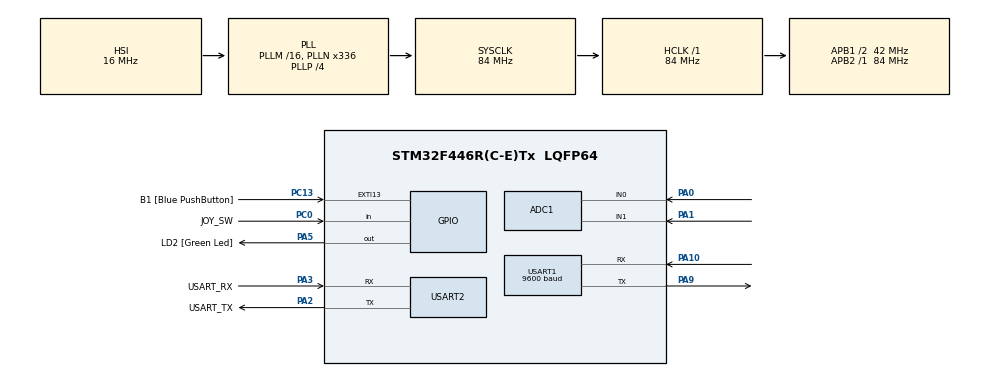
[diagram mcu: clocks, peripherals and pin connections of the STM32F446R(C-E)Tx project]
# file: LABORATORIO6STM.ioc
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ADC1.Channel-0\#ChannelRegularConversion=ADC_CHANNEL_0
ADC1.Channel-1\#ChannelRegularConversion=ADC_CHANNEL_1
ADC1.ContinuousConvMode=ENABLE
ADC1.DMAContinuousRequests=ENABLE
ADC1.EOCSelection=ADC_EOC_SEQ_CONV
ADC1.NbrOfConversion=2
ADC1.NbrOfConversionFlag=1
ADC1.Rank-0\#ChannelRegularConversion=1
ADC1.Rank-1\#ChannelRegularConversion=2
ADC1.SamplingTime-0\#ChannelRegularConversion=ADC_SAMPLETIME_3CYCLES
ADC1.SamplingTime-1\#ChannelRegularConversion=ADC_SAMPLETIME_3CYCLES
ADC1.ScanConvMode=ENABLE
ADC1.master=1
Dma.ADC1.0.Direction=DMA_PERIPH_TO_MEMORY
Dma.ADC1.0.FIFOMode=DMA_FIFOMODE_DISABLE
Dma.ADC1.0.Instance=DMA2_Stream0
Dma.ADC1.0.MemDataAlignment=DMA_MDATAALIGN_HALFWORD
Dma.ADC1.0.MemInc=DMA_MINC_ENABLE
Dma.ADC1.0.Mode=DMA_CIRCULAR
Dma.ADC1.0.PeriphDataAlignment=DMA_PDATAALIGN_HALFWORD
Dma.ADC1.0.PeriphInc=DMA_PINC_DISABLE
Dma.ADC1.0.Priority=DMA_PRIORITY_MEDIUM
Dma.Request0=ADC1
Mcu.Family=STM32F4
Mcu.Name=STM32F446R(C-E)Tx
Mcu.Package=LQFP64
NVIC.DMA2_Stream0_IRQn=true\:0\:0\:false\:false\:true\:false\:true\:true
NVIC.PriorityGroup=NVIC_PRIORITYGROUP_0
PA0-WKUP.Signal=ADCx_IN0
PA1.Signal=ADCx_IN1
PA10.Mode=Asynchronous
PA10.Signal=USART1_RX
PA13.GPIO_Label=TMS
PA13.Mode=Serial_Wire
PA13.Signal=SYS_JTMS-SWDIO
PA14.GPIO_Label=TCK
PA14.Mode=Serial_Wire
PA14.Signal=SYS_JTCK-SWCLK
PA2.GPIO_Label=USART_TX
PA2.Mode=Asynchronous
PA2.Signal=USART2_TX
PA3.GPIO_Label=USART_RX
PA3.Mode=Asynchronous
PA3.Signal=USART2_RX
PA5.GPIO_Label=LD2 [Green Led]
PA5.Signal=GPIO_Output
PA9.Mode=Asynchronous
PA9.Signal=USART1_TX
PB3.GPIO_Label=SWO
PB3.Signal=SYS_JTDO-SWO
PC0.GPIO_Label=JOY_SW
PC0.GPIO_PuPd=GPIO_PULLUP
PC0.Signal=GPIO_Input
PC13.GPIO_Label=B1 [Blue PushButton]
PC13.GPIO_ModeDefaultEXTI=GPIO_MODE_IT_FALLING
PC13.Signal=GPXTI13
PC14-OSC32_IN.Signal=RCC_OSC32_IN
PC15-OSC32_OUT.Signal=RCC_OSC32_OUT
PH0-OSC_IN.Signal=RCC_OSC_IN
PH1-OSC_OUT.Signal=RCC_OSC_OUT
ProjectManager.HeapSize=0x200
ProjectManager.StackSize=0x400
ProjectManager.TargetToolchain=STM32CubeIDE
RCC.AHBFreq_Value=84000000
RCC.APB1CLKDivider=RCC_HCLK_DIV2
RCC.APB1Freq_Value=42000000
RCC.APB1TimFreq_Value=84000000
RCC.APB2Freq_Value=84000000
RCC.APB2TimFreq_Value=84000000
RCC.CortexFreq_Value=84000000
RCC.FLatency-AdvancedSettings=FLASH_LATENCY_2
RCC.HCLKFreq_Value=84000000
RCC.HSE_VALUE=8000000
RCC.HSI_VALUE=16000000
RCC.LSE_VALUE=32768
RCC.PLLN=336
RCC.PLLP=RCC_PLLP_DIV4
RCC.SYSCLKFreq_VALUE=84000000
RCC.SYSCLKSource=RCC_SYSCLKSOURCE_PLLCLK
RCC.USBFreq_Value=168000000
RCC.VCOOutputFreq_Value=336000000
SH.ADCx_IN0.0=ADC1_IN0,IN0
SH.ADCx_IN1.0=ADC1_IN1,IN1
USART1.BaudRate=9600
USART1.VirtualMode=VM_ASYNC
USART2.VirtualMode=VM_ASYNC
board=NUCLEO-F446RE

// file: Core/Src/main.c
/* USER CODE BEGIN Header */
/**
  ******************************************************************************
  * @file           : main.c
  * @brief          : Lectura de joystick con ADC1, DMA y USART2
  ******************************************************************************
  */
/* USER CODE END Header */
#include "main.h"

/* USER CODE BEGIN Includes */
#include <stdio.h>
/* USER CODE END Includes */

/* USER CODE BEGIN PD */
#define ADC1_LIMITE_INFERIOR 2048
#define ADC1_LIMITE_SUPERIOR 2099

#define ADC2_LIMITE_INFERIOR 1960
#define ADC2_LIMITE_SUPERIOR 2100

#define INTERVALO_JOYSTICK 200U
#define TIEMPO_AGRUPACION_MANDO2 10U
#define TAMANO_COLA 16U
/* USER CODE END PD */

ADC_HandleTypeDef hadc1;
DMA_HandleTypeDef hdma_adc1;

UART_HandleTypeDef huart1;
UART_HandleTypeDef huart2;

/* USER CODE BEGIN PV */
volatile uint16_t adcValores[2] = {0, 0};

/* USART1 recibe un byte a la vez desde el ATmega */
uint8_t datoUART1;
uint8_t esperandoNumero = 0;

/* Cola de comandos recibidos por interrupcion */
volatile uint8_t colaComandos[TAMANO_COLA];
volatile uint8_t posicionEscritura = 0;
volatile uint8_t posicionLectura = 0;
/* USER CODE END PV */

void SystemClock_Config(void);
static void MX_GPIO_Init(void);
static void MX_DMA_Init(void);
static void MX_ADC1_Init(void);
static void MX_USART1_UART_Init(void);
static void MX_USART2_UART_Init(void);
/* USER CODE BEGIN PFP */
static void guardarComando(uint8_t comando);
static uint8_t leerComando(uint8_t *comando);
static void mostrarMando1(const char *vertical,
                          const char *horizontal,
                          uint16_t adcVertical,
                          uint16_t adcHorizontal);
static void mostrarMando2(uint8_t comandos);
/* USER CODE END PFP */

/* USER CODE BEGIN 0 */
/* Guarda un comando si todavia hay espacio */
static void guardarComando(uint8_t comando)
{
  uint8_t siguiente = posicionEscritura + 1U;

  if (siguiente >= TAMANO_COLA)
  {
    siguiente = 0;
  }

  if (siguiente != posicionLectura)
  {
    colaComandos[posicionEscritura] = comando;
    posicionEscritura = siguiente;
  }
}

/* Devuelve un comando pendiente sin consultar el periferico UART */
static uint8_t leerComando(uint8_t *comando)
{
  if (posicionLectura == posicionEscritura)
  {
    return 0;
  }

  *comando = colaComandos[posicionLectura];
  posicionLectura++;

  if (posicionLectura >= TAMANO_COLA)
  {
    posicionLectura = 0;
  }

  return 1;
}

/* Muestra una o dos mediciones del joystick en la misma linea */
static void mostrarMando1(const char *vertical,
                          const char *horizontal,
                          uint16_t adcVertical,
                          uint16_t adcHorizontal)
{
  char mensaje[100];
  int longitud;

  if (vertical == NULL && horizontal == NULL)
  {
    return;
  }

  longitud = snprintf(mensaje, sizeof(mensaje), "Mando 1: ");

  if (vertical != NULL)
  {
    longitud += snprintf(&mensaje[longitud],
                         sizeof(mensaje) - (uint32_t)longitud,
                         "%s (ADC1=%u)",
                         vertical,
                         (unsigned int)adcVertical);
  }

  if (horizontal != NULL)
  {
    if (vertical != NULL)
    {
      longitud += snprintf(&mensaje[longitud],
                           sizeof(mensaje) - (uint32_t)longitud,
                           " | ");
    }

    longitud += snprintf(&mensaje[longitud],
                         sizeof(mensaje) - (uint32_t)longitud,
                         "%s (ADC2=%u)",
                         horizontal,
                         (unsigned int)adcHorizontal);
  }

  longitud += snprintf(&mensaje[longitud],
                       sizeof(mensaje) - (uint32_t)longitud,
                       "\r\n");

  HAL_UART_Transmit(&huart2,
                    (uint8_t *)mensaje,
                    (uint16_t)longitud,
                    1000);
}

/* Muestra juntos los botones presionados al mismo tiempo */
static void mostrarMando2(uint8_t comandos)
{
  const uint8_t orden[] = {4, 3, 5, 6, 2, 1};
  const char *acciones[] = {
      "Arriba", "Abajo", "Derecha", "Izquierda", "A", "B"
  };

  char mensaje[100];
  uint8_t i;
  uint8_t primeraAccion = 1;
  int longitud;

  longitud = snprintf(mensaje, sizeof(mensaje), "Mando 2: ");

  for (i = 0; i < 6; i++)
  {
    if (comandos & (1U << (orden[i] - 1U)))
    {
      if (!primeraAccion)
      {
        longitud += snprintf(&mensaje[longitud],
                             sizeof(mensaje) - (uint32_t)longitud,
                             " | ");
      }

      longitud += snprintf(&mensaje[longitud],
                           sizeof(mensaje) - (uint32_t)longitud,
                           "%s",
                           acciones[i]);

      primeraAccion = 0;
    }
  }

  longitud += snprintf(&mensaje[longitud],
                       sizeof(mensaje) - (uint32_t)longitud,
                       "\r\n");

  HAL_UART_Transmit(&huart2,
                    (uint8_t *)mensaje,
                    (uint16_t)longitud,
                    1000);
}
/* USER CODE END 0 */

int main(void)
{

  /* USER CODE BEGIN 1 */
  uint16_t adcVertical;
  uint16_t adcHorizontal;

  const char *vertical;
  const char *horizontal;

  uint8_t comando;
  uint8_t comandosMando2 = 0;
  uint8_t mando2Pendiente = 0;
  uint32_t tiempoJoystick = 0;
  uint32_t ultimoComandoMando2 = 0;
  HAL_StatusTypeDef estadoADC;
  /* USER CODE END 1 */

  /* MCU Configuration--------------------------------------------------------*/

  /* Reset of all peripherals, Initializes the Flash interface and the Systick. */
  HAL_Init();

  /* Configure the system clock */
  SystemClock_Config();

  /* Initialize all configured peripherals */
  MX_GPIO_Init();
  MX_DMA_Init();
  MX_ADC1_Init();
  MX_USART1_UART_Init();
  MX_USART2_UART_Init();
  /* USER CODE BEGIN 2 */

  /* Comprueba primero que USART2 funciona */
  const char inicio[] =
      "\r\nSistema iniciado\r\n"
      "USART2 funcionando a 115200 baudios\r\n";

  HAL_UART_Transmit(&huart2,
                    (uint8_t *)inicio,
                    sizeof(inicio) - 1,
                    1000);

  HAL_Delay(200);

  /* Inicia la lectura de los dos ADC mediante DMA */
  estadoADC = HAL_ADC_Start_DMA(&hadc1,
                               (uint32_t *)adcValores,
                               2);

  if (estadoADC != HAL_OK)
  {
    const char error[] = "ERROR: no se pudo iniciar ADC DMA\r\n";

    HAL_UART_Transmit(&huart2,
                      (uint8_t *)error,
                      sizeof(error) - 1,
                      1000);

    Error_Handler();
  }

  /*
   * El DMA continúa actualizando el arreglo sin necesidad de generar
   * miles de interrupciones por segundo.
   */
  if (hadc1.DMA_Handle != NULL)
  {
    __HAL_DMA_DISABLE_IT(hadc1.DMA_Handle,
                         DMA_IT_HT | DMA_IT_TC);
  }

  const char adcOK[] = "ADC DMA iniciado correctamente\r\n";

  HAL_UART_Transmit(&huart2,
                    (uint8_t *)adcOK,
                    sizeof(adcOK) - 1,
                    1000);

  /* Activa la recepcion del control por interrupciones */
  HAL_NVIC_SetPriority(USART1_IRQn, 1, 0);
  HAL_NVIC_EnableIRQ(USART1_IRQn);

  if (HAL_UART_Receive_IT(&huart1, &datoUART1, 1) != HAL_OK)
  {
    const char error[] = "ERROR: no se pudo iniciar USART1\r\n";

    HAL_UART_Transmit(&huart2,
                      (uint8_t *)error,
                      sizeof(error) - 1,
                      1000);

    Error_Handler();
  }

  const char uartOK[] = "Control ATmega listo por USART1\r\n";

  HAL_UART_Transmit(&huart2,
                    (uint8_t *)uartOK,
                    sizeof(uartOK) - 1,
                    1000);

  tiempoJoystick = HAL_GetTick();

  /* USER CODE END 2 */

  /* Infinite loop */
  while (1)
  {

    /* USER CODE BEGIN 3 */

    /* Atiende primero todos los botones pendientes */
    while (leerComando(&comando))
    {
      comandosMando2 |= (1U << (comando - 1U));
      ultimoComandoMando2 = HAL_GetTick();
      mando2Pendiente = 1;
    }

    /* Espera el final del grupo para mostrar una sola linea */
    if (mando2Pendiente &&
        (HAL_GetTick() - ultimoComandoMando2) >= TIEMPO_AGRUPACION_MANDO2)
    {
      mostrarMando2(comandosMando2);
      comandosMando2 = 0;
      mando2Pendiente = 0;
    }

    /* Revisa el joystick cada 200 ms sin detener el programa */
    if ((HAL_GetTick() - tiempoJoystick) >= INTERVALO_JOYSTICK)
    {
      tiempoJoystick = HAL_GetTick();
      adcVertical = adcValores[0];
      adcHorizontal = adcValores[1];
      vertical = NULL;
      horizontal = NULL;

      if (adcVertical > ADC1_LIMITE_SUPERIOR)
      {
        vertical = "Arriba";
      }
      else if (adcVertical < ADC1_LIMITE_INFERIOR)
      {
        vertical = "Abajo";
      }

      /* Una diagonal muestra las dos acciones */
      if (adcHorizontal > ADC2_LIMITE_SUPERIOR)
      {
        horizontal = "Izquierda";
      }
      else if (adcHorizontal < ADC2_LIMITE_INFERIOR)
      {
        horizontal = "Derecha";
      }

      mostrarMando1(vertical,
                    horizontal,
                    adcVertical,
                    adcHorizontal);
    }
  }

  /* USER CODE END 3 */
}

void SystemClock_Config(void)
{
  RCC_OscInitTypeDef RCC_OscInitStruct = {0};
  RCC_ClkInitTypeDef RCC_ClkInitStruct = {0};

  /** Configure the main internal regulator output voltage
  */
  __HAL_RCC_PWR_CLK_ENABLE();
  __HAL_PWR_VOLTAGESCALING_CONFIG(PWR_REGULATOR_VOLTAGE_SCALE3);

  /** Initializes the RCC Oscillators according to the specified parameters
  * in the RCC_OscInitTypeDef structure.
  */
  RCC_OscInitStruct.OscillatorType = RCC_OSCILLATORTYPE_HSI;
  RCC_OscInitStruct.HSIState = RCC_HSI_ON;
  RCC_OscInitStruct.HSICalibrationValue = RCC_HSICALIBRATION_DEFAULT;
  RCC_OscInitStruct.PLL.PLLState = RCC_PLL_ON;
  RCC_OscInitStruct.PLL.PLLSource = RCC_PLLSOURCE_HSI;
  RCC_OscInitStruct.PLL.PLLM = 16;
  RCC_OscInitStruct.PLL.PLLN = 336;
  RCC_OscInitStruct.PLL.PLLP = RCC_PLLP_DIV4;
  RCC_OscInitStruct.PLL.PLLQ = 2;
  RCC_OscInitStruct.PLL.PLLR = 2;
  if (HAL_RCC_OscConfig(&RCC_OscInitStruct) != HAL_OK)
  {
    Error_Handler();
  }

  /** Initializes the CPU, AHB and APB buses clocks
  */
  RCC_ClkInitStruct.ClockType = RCC_CLOCKTYPE_HCLK|RCC_CLOCKTYPE_SYSCLK
                              |RCC_CLOCKTYPE_PCLK1|RCC_CLOCKTYPE_PCLK2;
  RCC_ClkInitStruct.SYSCLKSource = RCC_SYSCLKSOURCE_PLLCLK;
  RCC_ClkInitStruct.AHBCLKDivider = RCC_SYSCLK_DIV1;
  RCC_ClkInitStruct.APB1CLKDivider = RCC_HCLK_DIV2;
  RCC_ClkInitStruct.APB2CLKDivider = RCC_HCLK_DIV1;

  if (HAL_RCC_ClockConfig(&RCC_ClkInitStruct, FLASH_LATENCY_2) != HAL_OK)
  {
    Error_Handler();
  }
}

static void MX_ADC1_Init(void)
{

  ADC_ChannelConfTypeDef sConfig = {0};

  /** Configure the global features of the ADC (Clock, Resolution, Data Alignment and number of conversion)
  */
  hadc1.Instance = ADC1;
  hadc1.Init.ClockPrescaler = ADC_CLOCK_SYNC_PCLK_DIV4;
  hadc1.Init.Resolution = ADC_RESOLUTION_12B;
  hadc1.Init.ScanConvMode = ENABLE;
  hadc1.Init.ContinuousConvMode = ENABLE;
  hadc1.Init.DiscontinuousConvMode = DISABLE;
  hadc1.Init.ExternalTrigConvEdge = ADC_EXTERNALTRIGCONVEDGE_NONE;
  hadc1.Init.ExternalTrigConv = ADC_SOFTWARE_START;
  hadc1.Init.DataAlign = ADC_DATAALIGN_RIGHT;
  hadc1.Init.NbrOfConversion = 2;
  hadc1.Init.DMAContinuousRequests = ENABLE;
  hadc1.Init.EOCSelection = ADC_EOC_SEQ_CONV;
  if (HAL_ADC_Init(&hadc1) != HAL_OK)
  {
    Error_Handler();
  }

  /** Configure for the selected ADC regular channel its corresponding rank in the sequencer and its sample time.
  */
  sConfig.Channel = ADC_CHANNEL_0;
  sConfig.Rank = 1;
  sConfig.SamplingTime = ADC_SAMPLETIME_3CYCLES;
  if (HAL_ADC_ConfigChannel(&hadc1, &sConfig) != HAL_OK)
  {
    Error_Handler();
  }

  /** Configure for the selected ADC regular channel its corresponding rank in the sequencer and its sample time.
  */
  sConfig.Channel = ADC_CHANNEL_1;
  sConfig.Rank = 2;
  if (HAL_ADC_ConfigChannel(&hadc1, &sConfig) != HAL_OK)
  {
    Error_Handler();
  }

}

static void MX_USART1_UART_Init(void)
{

  huart1.Instance = USART1;
  huart1.Init.BaudRate = 9600;
  huart1.Init.WordLength = UART_WORDLENGTH_8B;
  huart1.Init.StopBits = UART_STOPBITS_1;
  huart1.Init.Parity = UART_PARITY_NONE;
  huart1.Init.Mode = UART_MODE_TX_RX;
  huart1.Init.HwFlowCtl = UART_HWCONTROL_NONE;
  huart1.Init.OverSampling = UART_OVERSAMPLING_16;
  if (HAL_UART_Init(&huart1) != HAL_OK)
  {
    Error_Handler();
  }

}

static void MX_USART2_UART_Init(void)
{

  huart2.Instance = USART2;
  huart2.Init.BaudRate = 115200;
  huart2.Init.WordLength = UART_WORDLENGTH_8B;
  huart2.Init.StopBits = UART_STOPBITS_1;
  huart2.Init.Parity = UART_PARITY_NONE;
  huart2.Init.Mode = UART_MODE_TX_RX;
  huart2.Init.HwFlowCtl = UART_HWCONTROL_NONE;
  huart2.Init.OverSampling = UART_OVERSAMPLING_16;
  if (HAL_UART_Init(&huart2) != HAL_OK)
  {
    Error_Handler();
  }

}

static void MX_DMA_Init(void)
{

  /* DMA controller clock enable */
  __HAL_RCC_DMA2_CLK_ENABLE();

  /* DMA interrupt init */
  /* DMA2_Stream0_IRQn interrupt configuration */
  HAL_NVIC_SetPriority(DMA2_Stream0_IRQn, 0, 0);
  HAL_NVIC_EnableIRQ(DMA2_Stream0_IRQn);

}

static void MX_GPIO_Init(void)
{
  GPIO_InitTypeDef GPIO_InitStruct = {0};

  /* GPIO Ports Clock Enable */
  __HAL_RCC_GPIOC_CLK_ENABLE();
  __HAL_RCC_GPIOH_CLK_ENABLE();
  __HAL_RCC_GPIOA_CLK_ENABLE();
  __HAL_RCC_GPIOB_CLK_ENABLE();

  /*Configure GPIO pin Output Level */
  HAL_GPIO_WritePin(LD2_GPIO_Port, LD2_Pin, GPIO_PIN_RESET);

  /*Configure GPIO pin : B1_Pin */
  GPIO_InitStruct.Pin = B1_Pin;
  GPIO_InitStruct.Mode = GPIO_MODE_IT_FALLING;
  GPIO_InitStruct.Pull = GPIO_NOPULL;
  HAL_GPIO_Init(B1_GPIO_Port, &GPIO_InitStruct);

  /*Configure GPIO pin : JOY_SW_Pin */
  GPIO_InitStruct.Pin = JOY_SW_Pin;
  GPIO_InitStruct.Mode = GPIO_MODE_INPUT;
  GPIO_InitStruct.Pull = GPIO_PULLUP;
  HAL_GPIO_Init(JOY_SW_GPIO_Port, &GPIO_InitStruct);

  /*Configure GPIO pin : LD2_Pin */
  GPIO_InitStruct.Pin = LD2_Pin;
  GPIO_InitStruct.Mode = GPIO_MODE_OUTPUT_PP;
  GPIO_InitStruct.Pull = GPIO_NOPULL;
  GPIO_InitStruct.Speed = GPIO_SPEED_FREQ_LOW;
  HAL_GPIO_Init(LD2_GPIO_Port, &GPIO_InitStruct);

}

/* USER CODE BEGIN 4 */
/* Vector de interrupcion de USART1 */
void USART1_IRQHandler(void)
{
  HAL_UART_IRQHandler(&huart1);
}

/* Recibe b1-b6 desde el ATmega */
void HAL_UART_RxCpltCallback(UART_HandleTypeDef *huart)
{
  if (huart->Instance == USART1)
  {
    if (datoUART1 == 'b')
    {
      esperandoNumero = 1;
    }
    else if (esperandoNumero && datoUART1 >= '1' && datoUART1 <= '6')
    {
      guardarComando((uint8_t)(datoUART1 - '0'));
      esperandoNumero = 0;
    }
    else if (datoUART1 != '\r' && datoUART1 != '\n')
    {
      esperandoNumero = 0;
    }

    HAL_UART_Receive_IT(&huart1, &datoUART1, 1);
  }
}

/* Reinicia la recepcion si la linea UART presenta un error */
void HAL_UART_ErrorCallback(UART_HandleTypeDef *huart)
{
  if (huart->Instance == USART1)
  {
    esperandoNumero = 0;
    HAL_UART_Receive_IT(&huart1, &datoUART1, 1);
  }
}

/* USER CODE END 4 */

void Error_Handler(void)
{
  __disable_irq();
  while (1)
  {
  }
}
